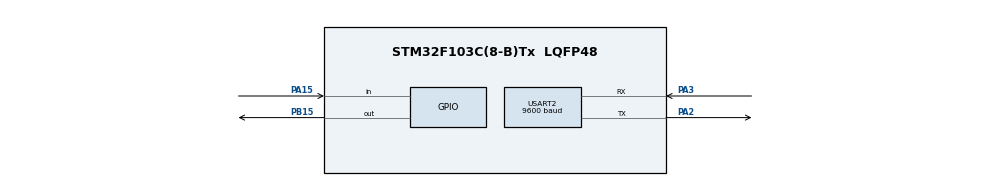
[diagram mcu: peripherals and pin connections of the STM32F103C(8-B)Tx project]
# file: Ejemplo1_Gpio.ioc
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Mcu.Family=STM32F1
Mcu.Name=STM32F103C(8-B)Tx
Mcu.Package=LQFP48
NVIC.PriorityGroup=NVIC_PRIORITYGROUP_4
NVIC.USART2_IRQn=true\:0\:0\:false\:false\:true\:true\:true\:true
PA13.Mode=Serial_Wire
PA13.Signal=SYS_JTMS-SWDIO
PA14.Mode=Serial_Wire
PA14.Signal=SYS_JTCK-SWCLK
PA15.Signal=GPIO_Input
PA2.Mode=Asynchronous
PA2.Signal=USART2_TX
PA3.Mode=Asynchronous
PA3.Signal=USART2_RX
PB15.Signal=GPIO_Output
ProjectManager.HeapSize=0x200
ProjectManager.StackSize=0x400
ProjectManager.TargetToolchain=STM32CubeIDE
RCC.APB1Freq_Value=8000000
RCC.APB2Freq_Value=8000000
USART2.BaudRate=9600
USART2.VirtualMode=VM_ASYNC
board=custom

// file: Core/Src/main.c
/* USER CODE BEGIN Header */
/**
  ******************************************************************************
  * @file           : main.c
  * @brief          : Main program body
  ******************************************************************************
  * @attention
  *
  * Copyright (c) 2022 STMicroelectronics.
  * All rights reserved.
  *
  * This software is licensed under terms that can be found in the LICENSE file
  * in the root directory of this software component.
  * If no LICENSE file comes with this software, it is provided AS-IS.
  *
  ******************************************************************************
  */
/* USER CODE END Header */
#include "main.h"

/* USER CODE BEGIN Includes */

#include <stdio.h>
#include <stdlib.h>
#include <stdint.h>
#include <stdbool.h>
#include <string.h>
/* USER CODE END Includes */

 UART_HandleTypeDef huart2;

void SystemClock_Config(void);
static void MX_GPIO_Init(void);
static void MX_USART2_UART_Init(void);

/* USER CODE BEGIN 0 */

uint8_t mensaje1[20] = "Hola Mundo\r\n";

uint8_t byte;
/* USER CODE END 0 */

int main(void)
{

  /* MCU Configuration--------------------------------------------------------*/

  /* Reset of all peripherals, Initializes the Flash interface and the Systick. */
  HAL_Init();

  /* Configure the system clock */
  SystemClock_Config();

  /* Initialize all configured peripherals */
  MX_GPIO_Init();
  MX_USART2_UART_Init();
  /* USER CODE BEGIN 2 */

  //habilitacion del clock del puerto b
  RCC->APB2ENR |= (1<<3);

  //configuracion gpio output ,pushpull , 2mhz

  GPIOB->CRH |= (1<<25);
  GPIOB->CRH &=~(1<<24) &~(1<<26) &~(1<<27);
  GPIOB->ODR &= ~(1<<14);

  //habailitar clock en el puerto A
  RCC->APB2ENR |= (1<<2);

  //configuramos entrada
  GPIOA->CRH |= (1<<31);
  GPIOA->CRH &=~(1<<29) &~(1<<28) &~(1<<30);

	HAL_UART_Receive_IT(&huart2,&byte,1);
  /* USER CODE END 2 */

  /* Infinite loop */
  /* USER CODE BEGIN WHILE */
  while (1)
  {
      //GPIOB->ODR ^= (1<<14);
	  //HAL_GPIO_TogglePin(GPIOB, GPIO_PIN_15);
	  //HAL_Delay(300);

		//if((GPIOA->IDR & (1<<15))==0){

		  //GPIOB->ODR |=(1<<14);
		//}else{ GPIOB->ODR &= ~(1<<14); }

		HAL_UART_Transmit(&huart2,(uint8_t *) mensaje1, 20, HAL_MAX_DELAY);
		HAL_Delay(300);

    /* USER CODE END WHILE */

  }
}

void SystemClock_Config(void)
{
  RCC_OscInitTypeDef RCC_OscInitStruct = {0};
  RCC_ClkInitTypeDef RCC_ClkInitStruct = {0};

  /** Initializes the RCC Oscillators according to the specified parameters
  * in the RCC_OscInitTypeDef structure.
  */
  RCC_OscInitStruct.OscillatorType = RCC_OSCILLATORTYPE_HSI;
  RCC_OscInitStruct.HSIState = RCC_HSI_ON;
  RCC_OscInitStruct.HSICalibrationValue = RCC_HSICALIBRATION_DEFAULT;
  RCC_OscInitStruct.PLL.PLLState = RCC_PLL_NONE;
  if (HAL_RCC_OscConfig(&RCC_OscInitStruct) != HAL_OK)
  {
    Error_Handler();
  }

  /** Initializes the CPU, AHB and APB buses clocks
  */
  RCC_ClkInitStruct.ClockType = RCC_CLOCKTYPE_HCLK|RCC_CLOCKTYPE_SYSCLK
                              |RCC_CLOCKTYPE_PCLK1|RCC_CLOCKTYPE_PCLK2;
  RCC_ClkInitStruct.SYSCLKSource = RCC_SYSCLKSOURCE_HSI;
  RCC_ClkInitStruct.AHBCLKDivider = RCC_SYSCLK_DIV1;
  RCC_ClkInitStruct.APB1CLKDivider = RCC_HCLK_DIV1;
  RCC_ClkInitStruct.APB2CLKDivider = RCC_HCLK_DIV1;

  if (HAL_RCC_ClockConfig(&RCC_ClkInitStruct, FLASH_LATENCY_0) != HAL_OK)
  {
    Error_Handler();
  }
}

static void MX_USART2_UART_Init(void)
{

  huart2.Instance = USART2;
  huart2.Init.BaudRate = 9600;
  huart2.Init.WordLength = UART_WORDLENGTH_8B;
  huart2.Init.StopBits = UART_STOPBITS_1;
  huart2.Init.Parity = UART_PARITY_NONE;
  huart2.Init.Mode = UART_MODE_TX_RX;
  huart2.Init.HwFlowCtl = UART_HWCONTROL_NONE;
  huart2.Init.OverSampling = UART_OVERSAMPLING_16;
  if (HAL_UART_Init(&huart2) != HAL_OK)
  {
    Error_Handler();
  }

}

static void MX_GPIO_Init(void)
{
  GPIO_InitTypeDef GPIO_InitStruct = {0};

  /* GPIO Ports Clock Enable */
  __HAL_RCC_GPIOA_CLK_ENABLE();
  __HAL_RCC_GPIOB_CLK_ENABLE();

  /*Configure GPIO pin Output Level */
  HAL_GPIO_WritePin(GPIOB, GPIO_PIN_15, GPIO_PIN_RESET);

  /*Configure GPIO pin : PB15 */
  GPIO_InitStruct.Pin = GPIO_PIN_15;
  GPIO_InitStruct.Mode = GPIO_MODE_OUTPUT_PP;
  GPIO_InitStruct.Pull = GPIO_NOPULL;
  GPIO_InitStruct.Speed = GPIO_SPEED_FREQ_LOW;
  HAL_GPIO_Init(GPIOB, &GPIO_InitStruct);

  /*Configure GPIO pin : PA15 */
  GPIO_InitStruct.Pin = GPIO_PIN_15;
  GPIO_InitStruct.Mode = GPIO_MODE_INPUT;
  GPIO_InitStruct.Pull = GPIO_NOPULL;
  HAL_GPIO_Init(GPIOA, &GPIO_InitStruct);

}

/* USER CODE BEGIN 4 */
void HAL_UART_RxCpltCallback(UART_HandleTypeDef *huart)
{

	HAL_UART_Receive_IT(&huart2,&byte,1);

}

/* USER CODE END 4 */

void Error_Handler(void)
{
  __disable_irq();
  while (1)
  {
  }
}
